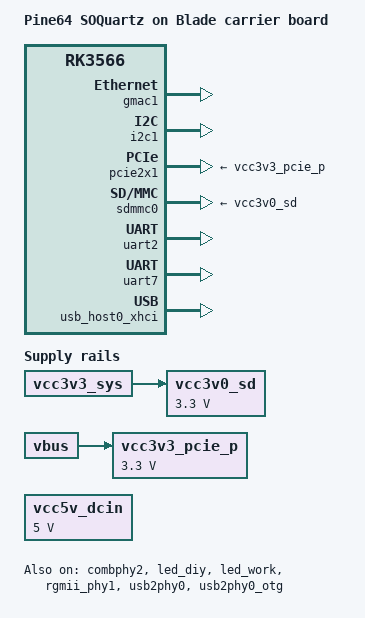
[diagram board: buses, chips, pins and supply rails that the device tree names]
// SPDX-License-Identifier: (GPL-2.0+ OR MIT)

/dts-v1/;

#include <dt-bindings/gpio/gpio.h>
#include <dt-bindings/input/input.h>
#include <dt-bindings/leds/common.h>
#include <dt-bindings/pinctrl/rockchip.h>

#include "rk3566-soquartz.dtsi"

/ {
	model = "Pine64 SOQuartz on Blade carrier board";
	compatible = "pine64,soquartz-blade", "pine64,soquartz", "rockchip,rk3566";

	aliases {
		ethernet0 = &gmac1;
	};

	/* labeled VCC3V0_SD in schematic to not conflict with PMIC regulator */
	vcc3v0_sd: regulator-vcc3v0-sd {
		compatible = "regulator-fixed";
		regulator-name = "vcc3v0_sd";
		regulator-always-on;
		regulator-boot-on;
		regulator-min-microvolt = <3300000>;
		regulator-max-microvolt = <3300000>;
		vin-supply = <&vcc3v3_sys>;
	};

	/* labeled VCC_SSD in schematic */
	vcc3v3_pcie_p: regulator-vcc3v3-pcie {
		compatible = "regulator-fixed";
		regulator-name = "vcc3v3_pcie_p";
		regulator-always-on;
		regulator-boot-on;
		regulator-min-microvolt = <3300000>;
		regulator-max-microvolt = <3300000>;
		vin-supply = <&vbus>;
	};

	vcc5v_dcin: regulator-vcc5v-dcin {
		compatible = "regulator-fixed";
		regulator-name = "vcc5v_dcin";
		regulator-always-on;
		regulator-boot-on;
		regulator-min-microvolt = <5000000>;
		regulator-max-microvolt = <5000000>;
	};
};

&combphy2 {
	phy-supply = <&vcc3v3_sys>;
	status = "okay";
};

&gmac1 {
	status = "okay";
};

/*
 * i2c1 is exposed on CM1 / Module1A
 * pin 80 - SCL0 - i2c1_scl_m0, pullup to vcc3v3_pmu
 * pin 82 - SDA0 - i2c1_sda_m0, pullup to vcc3v3_pmu
 */
&i2c1 {
	status = "okay";

};

/*
 * i2c2 is exposed on CM1 / Module1A - to PI40
 * pin 56 - GPIO3 - i2c2_scl_m1, pullup to vcc_3v3, shared with i2s1_8ch
 * pin 58 - GPIO2 - i2c2_sda_m1, pullup to vcc_3v3
 */
&i2c2 {
	status = "disabled";
};

/*
 * i2c3 is exposed on CM1 / Module1A - to PI40
 * pin 35 - ID_SC(GPIO28) - i2c3_scl_m0, pullup to vcc_3v3
 * pin 36 - ID_SD(GPIO27) - i2c3_sda_m0, pullup to vcc_3v3
 */
&i2c3 {
	status = "disabled";
};

/*
 * i2c4 is exposed on CM2 / Module1B - to PI40
 * pin 45 - GPIO24 - i2c4_scl_m1
 * pin 47 - GPIO23 - i2c4_sda_m1
 */
&i2c4 {
	status = "disabled";
};

/*
 * i2s1_8ch is exposed on CM1 / Module1A - to PI40
 * pin 24 - GPIO26 - i2s1_sdi1_m1
 * pin 25 - GPIO21 - i2s1_sdo0_m1
 * pin 26 - GPIO19 - i2s1_lrck_tx_m1
 * pin 27 - GPIO20 - i2s1_sdi0_m1
 * pin 29 - GPIO16 - i2s1_sdi3_m1
 * pin 30 - GPIO6  - i2s1_sdi2_m1
 * pin 40 - GPIO9  - i2s1_sdo1_m1, shared with spi3
 * pin 41 - GPIO25 - i2s1_sdo2_m1
 * pin 49 - GPIO18 - i2s1_sclk_tx_m1
 * pin 50 - GPIO17 - i2s1_mclk_m1
 * pin 56 - GPIO3  - i2s1_sdo3_m1, shared with i2c2
 */
&i2s1_8ch {
	status = "disabled";
};

&led_diy {
	color = <LED_COLOR_ID_RED>;
	function = LED_FUNCTION_DISK_ACTIVITY;
	linux,default-trigger = "disk-activity";
	status = "okay";
};

&led_work {
	color = <LED_COLOR_ID_GREEN>;
	function = LED_FUNCTION_STATUS;
	linux,default-trigger = "heartbeat";
	status = "okay";
};

&pcie2x1 {
	vpcie3v3-supply = <&vcc3v3_pcie_p>;
	status = "okay";
};

&rgmii_phy1 {
	status = "okay";
};

/*
 * saradc is exposed on CM1 / Module1A - to J2
 * pin 94 - AIN1 - saradc_vin3
 * pin 96 - AIN0 - saradc_vin2
 */
&saradc {
	status = "disabled";
};

&sdmmc0 {
	vmmc-supply = <&vcc3v0_sd>;
	status = "okay";
};

/*
 * spi3 is exposed on CM1 / Module1A - to PI40
 * pin 37 - GPIO7  - spi3_cs1_m0
 * pin 38 - GPIO11 - spi3_clk_m0
 * pin 39 - GPIO8  - spi3_cs0_m0
 * pin 40 - GPIO9  - spi3_miso_m0, shared with i2s1_8ch
 * pin 44 - GPIO10 - spi3_mosi_m0
 */
&spi3 {
	status = "disabled";
};

/*
 * uart2 is exposed on CM1 / Module1A - to PI40
 * pin 51 - GPIO15 - uart2_rx_m0
 * pin 55 - GPIO14 - uart2_tx_m0
 */
&uart2 {
	status = "okay";
};

/*
 * uart7 is exposed on CM1 / Module1A - to PI40
 * pin 46 - GPIO22 - uart7_tx_m2
 * pin 47 - GPIO23 - uart7_rx_m2
 */
&uart7 {
	status = "okay";
};

&usb2phy0 {
	status = "okay";
};

&usb2phy0_otg {
	phy-supply = <&vbus>;
	status = "okay";
};

&usb_host0_xhci {
	status = "okay";
};

&vbus {
	vin-supply = <&vcc5v_dcin>;
};
